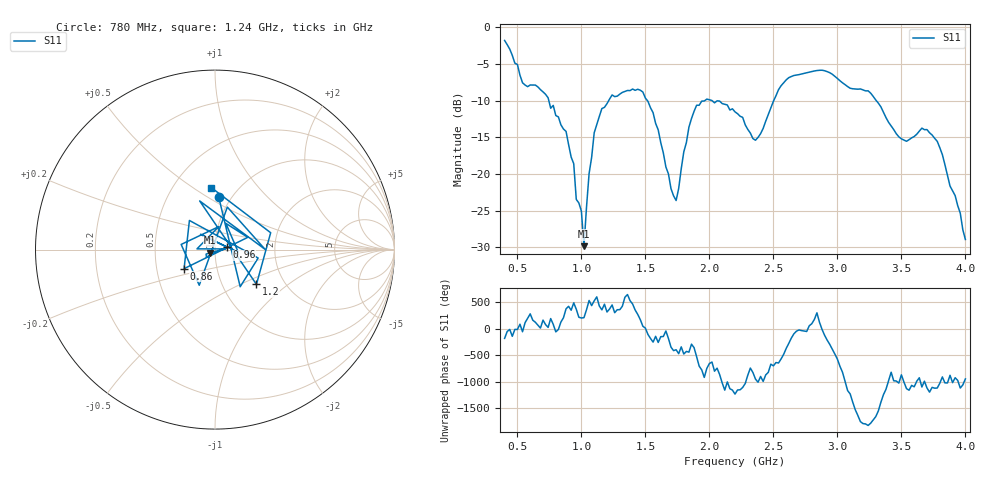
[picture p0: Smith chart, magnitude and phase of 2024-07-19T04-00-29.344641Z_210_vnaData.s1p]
!Created with skrf (http://scikit-rf.org).
# Hz S RI R 50.0
!freq ReS11 ImS11
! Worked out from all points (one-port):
!   181 points, 400 MHz to 4 GHz, reference 50 ohm
!   lowest |S11| = -29.9 dB at 1.02 GHz (marker M1), VSWR 1.07, Z = 47.3 - j1.66 ohm
!   |S11| at or under -10 dB: 745.3 MHz to 1.213 GHz (467.9 MHz wide, 47.8 % of centre); 2.021 GHz to 2.502 GHz (481.8 MHz wide, 21.3 % of centre); 3.304 GHz to end of sweep (the widest 3 of 4)
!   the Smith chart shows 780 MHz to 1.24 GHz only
!   S11 on the Smith chart (normalised r, x): 780 MHz: 0.88, +0.56; 860 MHz: 0.69, -0.15; 960 MHz: 1.14, +0.03; 1.2 GHz: 1.45, -0.62; 1.24 GHz: 0.76, +0.60
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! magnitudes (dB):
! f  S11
! 400 MHz  -1.8
! 540 MHz  -7.6
! 780 MHz  -10.7
! 860 MHz  -13.9
! 940 MHz  -18.6
! 960 MHz  -23.5
! 1 GHz  -25.1
! 1.02 GHz  -29.9
! 1.06 GHz  -20.0
! 1.1 GHz  -14.4
! 1.2 GHz  -10.4
! 1.24 GHz  -9.2
! 1.3 GHz  -9.1
! 1.48 GHz  -8.8
! 1.6 GHz  -14.0
! 1.72 GHz  -23.0
! 1.76 GHz  -22.0
! 1.84 GHz  -13.6
! 1.9 GHz  -10.6
! 2.2 GHz  -11.5
! 2.36 GHz  -15.4
! 2.66 GHz  -6.6
! 3.1 GHz  -8.3
! 3.24 GHz  -8.7
! 3.56 GHz  -15.3
! 3.66 GHz  -13.8
! 3.78 GHz  -15.6
! 4 GHz  -29.0
